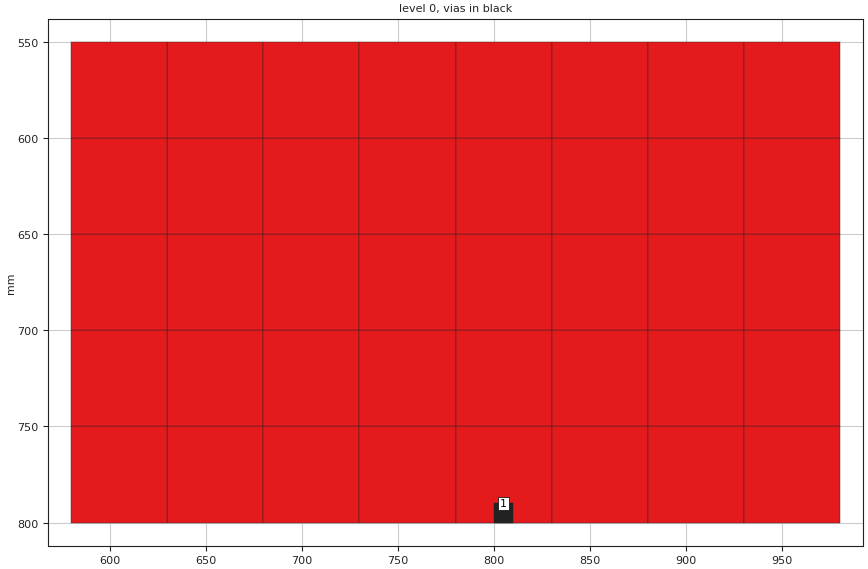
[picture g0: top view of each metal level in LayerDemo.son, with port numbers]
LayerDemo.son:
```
FTYP SONPROJ 4 ! Sonnet Project File
VER 12.52
HEADER
LIC License ID
DAT 8/12/2010 13:29:35
BUILT_BY_CREATED Matlab  10/12/2009 14:0:30
BUILT_BY_SAVED Sonnet Matlab Interface v3
MDATE 10/12/2009 14:0:30
HDATE 10/12/2009 14:0:30
END HEADER
DIM
FREQ GHZ
IND NH
LNG MM
ANG DEG
CON /OH
CAP PF
RES OH
END DIM
FREQ
SIMPLE 1 30 0.5
ABS 0.4 0.7
END FREQ
CONTROL
ABS
OPTIONS  -d
SPEED 0
CACHE_ABS 1
TARG_ABS 300
Q_ACC N
END CONTROL
GEO
SYM
TMET "Free Space" 0 FREESPACE 376.7303136 0 0 0
BMET "Lossless" 0 SUP 0 0 0 0
BOX 1 1600 1600 320 320 20 0
      100 1 1 0 0 0 0 "Unnamed1" 
      10 2 1 0 0 0 1 "Unnamed2" 
POR1 STD
POLY 8 1
0
1 50 0 0 0 805 790
NUM 41
VIA POLYGON
0 5 -1 N 8 1 1 100 100 0 0 0 Y
TOLEVEL 1
800 790
810 790
810 800
800 800
800 790
END
0 5 -1 N 10 1 1 100 100 0 0 0 Y
630 750
680 750
680 800
630 800
630 750
END
0 5 -1 N 11 1 1 100 100 0 0 0 Y
630 700
680 700
680 750
630 750
630 700
END
0 5 -1 N 12 1 1 100 100 0 0 0 Y
630 650
680 650
680 700
630 700
630 650
END
0 5 -1 N 13 1 1 100 100 0 0 0 Y
630 600
680 600
680 650
630 650
630 600
END
0 5 -1 N 14 1 1 100 100 0 0 0 Y
630 550
680 550
680 600
630 600
630 550
END
0 5 -1 N 15 1 1 100 100 0 0 0 Y
680 750
730 750
730 800
680 800
680 750
END
0 5 -1 N 16 1 1 100 100 0 0 0 Y
680 700
730 700
730 750
680 750
680 700
END
0 5 -1 N 17 1 1 100 100 0 0 0 Y
680 650
730 650
730 700
680 700
680 650
END
0 5 -1 N 18 1 1 100 100 0 0 0 Y
680 600
730 600
730 650
680 650
680 600
END
0 5 -1 N 19 1 1 100 100 0 0 0 Y
680 550
730 550
730 600
680 600
680 550
END
0 5 -1 N 20 1 1 100 100 0 0 0 Y
730 750
780 750
780 800
730 800
730 750
END
0 5 -1 N 21 1 1 100 100 0 0 0 Y
730 700
780 700
780 750
730 750
730 700
END
0 5 -1 N 22 1 1 100 100 0 0 0 Y
730 650
780 650
780 700
730 700
730 650
END
0 5 -1 N 23 1 1 100 100 0 0 0 Y
730 600
780 600
780 650
730 650
730 600
END
0 5 -1 N 24 1 1 100 100 0 0 0 Y
730 550
780 550
780 600
730 600
730 550
END
0 5 -1 N 25 1 1 100 100 0 0 0 Y
780 750
830 750
830 800
780 800
780 750
END
0 5 -1 N 26 1 1 100 100 0 0 0 Y
780 700
830 700
830 750
780 750
780 700
END
0 5 -1 N 27 1 1 100 100 0 0 0 Y
780 650
830 650
830 700
780 700
780 650
END
0 5 -1 N 28 1 1 100 100 0 0 0 Y
780 600
830 600
830 650
780 650
780 600
END
0 5 -1 N 29 1 1 100 100 0 0 0 Y
780 550
830 550
830 600
780 600
780 550
END
0 5 -1 N 30 1 1 100 100 0 0 0 Y
830 750
880 750
880 800
830 800
830 750
END
0 5 -1 N 31 1 1 100 100 0 0 0 Y
830 700
880 700
880 750
830 750
830 700
END
0 5 -1 N 32 1 1 100 100 0 0 0 Y
830 650
880 650
880 700
830 700
830 650
END
0 5 -1 N 33 1 1 100 100 0 0 0 Y
830 600
880 600
880 650
830 650
830 600
END
0 5 -1 N 34 1 1 100 100 0 0 0 Y
830 550
880 550
880 600
830 600
830 550
END
0 5 -1 N 35 1 1 100 100 0 0 0 Y
880 750
930 750
930 800
880 800
880 750
END
0 5 -1 N 36 1 1 100 100 0 0 0 Y
880 700
930 700
930 750
880 750
880 700
END
0 5 -1 N 37 1 1 100 100 0 0 0 Y
880 650
930 650
930 700
880 700
880 650
END
0 5 -1 N 38 1 1 100 100 0 0 0 Y
880 600
930 600
930 650
880 650
880 600
END
0 5 -1 N 39 1 1 100 100 0 0 0 Y
880 550
930 550
930 600
880 600
880 550
END
0 5 -1 N 40 1 1 100 100 0 0 0 Y
930 750
980 750
980 800
930 800
930 750
END
0 5 -1 N 41 1 1 100 100 0 0 0 Y
930 700
980 700
980 750
930 750
930 700
END
0 5 -1 N 42 1 1 100 100 0 0 0 Y
930 650
980 650
980 700
930 700
930 650
END
0 5 -1 N 43 1 1 100 100 0 0 0 Y
930 600
980 600
980 650
930 650
930 600
END
0 5 -1 N 44 1 1 100 100 0 0 0 Y
930 550
980 550
980 600
930 600
930 550
END
0 5 -1 N 45 1 1 100 100 0 0 0 Y
580 750
630 750
630 800
580 800
580 750
END
0 5 -1 N 46 1 1 100 100 0 0 0 Y
580 700
630 700
630 750
580 750
580 700
END
0 5 -1 N 47 1 1 100 100 0 0 0 Y
580 650
630 650
630 700
580 700
580 650
END
0 5 -1 N 48 1 1 100 100 0 0 0 Y
580 600
630 600
630 650
580 650
580 600
END
0 5 -1 N 49 1 1 100 100 0 0 0 Y
580 550
630 550
630 600
580 600
580 550
END
END GEO
OPT
MAX 100
VARS
END OPT
VARSWP
END VARSWP
FILEOUT
TS D Y $BASENAME.s1p IC 8 S MA R 50
END FILEOUT
QSG
IMPORT NO
EXTRA_METAL NO
UNITS YES
ALIGN NO
REF NO
VIEW_RES NO
METALS YES
USED YES
END QSG
```
